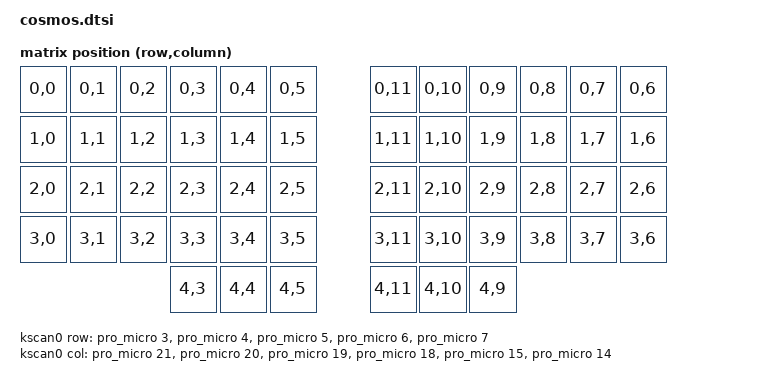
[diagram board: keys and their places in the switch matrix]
/*
 * Cosmos handwired split: 4 rows x 6 columns of finger keys + 3 thumb keys per
 * half (27 keys/half, 54 total). Thumbs are matrix row 4, columns 3-5; row 4
 * columns 0-2 have no switch.
 * Controller: nice!nano v2 in each half. Halves are mirror images and use the
 * SAME pins, so the pin lists below apply to both halves.
 *
 * Wired split over the TRRS cable (ZMK full-duplex wired split, v0.3+).
 * TRRS carries VCC, GND and the two UART lines:
 *   nice!nano  D1 / TX  (pro_micro 1, P0.06)  ->  other half's RX
 *   nice!nano  D0 / RX  (pro_micro 0, P0.08)  <-  other half's TX
 * so the cable/jacks must cross TX<->RX between the halves.
 * Do NOT wire any switch to pro_micro 0 or 1.
 *
 * SPDX-License-Identifier: MIT
 */

#include <dt-bindings/zmk/matrix_transform.h>
#include "cosmos-layouts.dtsi"

/* Enable the hardware UART on D0/D1 that the wired split uses. */
&pro_micro_serial {
    status = "okay";
};

/ {
    chosen {
        zmk,kscan = &kscan0;
        zmk,physical-layout = &cosmos_layout;
    };

    wired_split {
        compatible = "zmk,wired-split";
        device = <&pro_micro_serial>;
    };

    /* ================================================================
     * Matrix pins (as wired, 2026-08-29). pro_micro N = "D" pin number;
     * the P0.xx / P1.xx comments are the labels silk-screened on the
     * nice!nano (011 = P0.11, 100 = P1.00, ...).
     * Available for the matrix: 2 3 4 5 6 7 8 9 10 14 15 16 18 19 20 21
     * (0 and 1 are the TRRS UART lines).
     *
     * row-gpios: row 0 = top (number row) ... row 4 = thumb row (cols 3-5 only)
     * col-gpios: col 0 = outermost (pinky) ... col 5 = innermost (index)
     *
     * If a key prints the key of a neighbouring row/column, swap the pin
     * order here. If nothing prints at all, try diode-direction = "row2col".
     * ================================================================ */
    kscan0: kscan0 {
        compatible = "zmk,kscan-gpio-matrix";
        diode-direction = "col2row";
        wakeup-source;

        row-gpios
            = <&pro_micro 3 (GPIO_ACTIVE_HIGH | GPIO_PULL_DOWN)>   /* P0.20 - row 0, top (numbers) */
            , <&pro_micro 4 (GPIO_ACTIVE_HIGH | GPIO_PULL_DOWN)>   /* P0.22 - row 1 */
            , <&pro_micro 5 (GPIO_ACTIVE_HIGH | GPIO_PULL_DOWN)>   /* P0.24 - row 2 (home) */
            , <&pro_micro 6 (GPIO_ACTIVE_HIGH | GPIO_PULL_DOWN)>   /* P1.00 - row 3 */
            , <&pro_micro 7 (GPIO_ACTIVE_HIGH | GPIO_PULL_DOWN)>   /* P0.11 - row 4, thumb row */
            ;

        col-gpios
            = <&pro_micro 21 GPIO_ACTIVE_HIGH>   /* P0.31 - col 0, outer (pinky) */
            , <&pro_micro 20 GPIO_ACTIVE_HIGH>   /* P0.29 - col 1 */
            , <&pro_micro 19 GPIO_ACTIVE_HIGH>   /* P0.02 - col 2 */
            , <&pro_micro 18 GPIO_ACTIVE_HIGH>   /* P1.15 - col 3 */
            , <&pro_micro 15 GPIO_ACTIVE_HIGH>   /* P1.13 - col 4 */
            , <&pro_micro 14 GPIO_ACTIVE_HIGH>   /* P1.11 - col 5, inner (index / first thumb) */
            ;
    };

    /*
     * Logical matrix = 5 rows x 12 columns. Columns 0-5 are the left half,
     * 6-11 the right half (right overlay adds col-offset = 6). Row 4 only has
     * the three thumb keys per half (cols 3-5 / 9-11); the other row-4 matrix
     * positions are unpopulated and left out of the map.
     * Because the right half is mirrored, its outermost column is RC(r,6)
     * and its innermost is RC(r,11); the map is written in VISUAL order
     * (left-to-right as you look at the keyboard) so the keymap reads
     * naturally.
     */
    default_transform: keymap_transform0 {
        compatible = "zmk,matrix-transform";
        columns = <12>;
        rows = <5>;
        map = <
RC(0,0) RC(0,1) RC(0,2) RC(0,3) RC(0,4) RC(0,5)    RC(0,11) RC(0,10) RC(0,9) RC(0,8) RC(0,7) RC(0,6)
RC(1,0) RC(1,1) RC(1,2) RC(1,3) RC(1,4) RC(1,5)    RC(1,11) RC(1,10) RC(1,9) RC(1,8) RC(1,7) RC(1,6)
RC(2,0) RC(2,1) RC(2,2) RC(2,3) RC(2,4) RC(2,5)    RC(2,11) RC(2,10) RC(2,9) RC(2,8) RC(2,7) RC(2,6)
RC(3,0) RC(3,1) RC(3,2) RC(3,3) RC(3,4) RC(3,5)    RC(3,11) RC(3,10) RC(3,9) RC(3,8) RC(3,7) RC(3,6)
                        RC(4,3) RC(4,4) RC(4,5)    RC(4,11) RC(4,10) RC(4,9)
        >;
    };
};

&cosmos_layout {
    transform = <&default_transform>;
    kscan = <&kscan0>;
};
